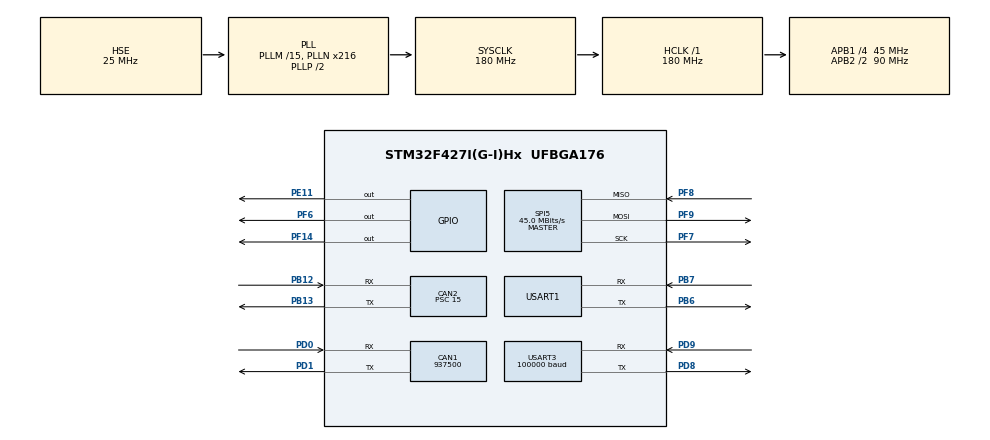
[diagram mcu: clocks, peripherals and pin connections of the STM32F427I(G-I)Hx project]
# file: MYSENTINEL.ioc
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CAN1.CalculateBaudRate=937500
CAN1.CalculateTimeBit=1066
CAN1.CalculateTimeQuantum=355.55555555555554
CAN2.CalculateBaudRate=1000000
CAN2.CalculateTimeBit=1000
CAN2.CalculateTimeQuantum=333.3333333333333
CAN2.Prescaler=15
Dma.Request0=USART1_RX
Dma.Request1=USART3_RX
Dma.USART1_RX.0.Direction=DMA_PERIPH_TO_MEMORY
Dma.USART1_RX.0.FIFOMode=DMA_FIFOMODE_DISABLE
Dma.USART1_RX.0.Instance=DMA2_Stream2
Dma.USART1_RX.0.MemDataAlignment=DMA_MDATAALIGN_BYTE
Dma.USART1_RX.0.MemInc=DMA_MINC_ENABLE
Dma.USART1_RX.0.Mode=DMA_NORMAL
Dma.USART1_RX.0.PeriphDataAlignment=DMA_PDATAALIGN_BYTE
Dma.USART1_RX.0.PeriphInc=DMA_PINC_DISABLE
Dma.USART1_RX.0.Priority=DMA_PRIORITY_LOW
Dma.USART3_RX.1.Direction=DMA_PERIPH_TO_MEMORY
Dma.USART3_RX.1.FIFOMode=DMA_FIFOMODE_DISABLE
Dma.USART3_RX.1.Instance=DMA1_Stream1
Dma.USART3_RX.1.MemDataAlignment=DMA_MDATAALIGN_BYTE
Dma.USART3_RX.1.MemInc=DMA_MINC_ENABLE
Dma.USART3_RX.1.Mode=DMA_NORMAL
Dma.USART3_RX.1.PeriphDataAlignment=DMA_PDATAALIGN_BYTE
Dma.USART3_RX.1.PeriphInc=DMA_PINC_DISABLE
Dma.USART3_RX.1.Priority=DMA_PRIORITY_LOW
FREERTOS.Tasks01=defaultTask,24,128,StartDefaultTask,Default,NULL,Dynamic,NULL,NULL;Underpan,24,128,StartUnderpan,As weak,NULL,Dynamic,NULL,NULL;tripod,24,128,StartTripod,As weak,NULL,Dynamic,NULL,NULL;GetIMUData,24,128,StartGetIMUData,As weak,NULL,Dynamic,NULL,NULL
Mcu.Family=STM32F4
Mcu.Name=STM32F427I(G-I)Hx
Mcu.Package=UFBGA176
NVIC.CAN2_RX0_IRQn=true\:5\:0\:false\:false\:true\:true\:true\:true\:true
NVIC.CAN2_SCE_IRQn=true\:5\:0\:false\:false\:true\:true\:true\:true\:true
NVIC.CAN2_TX_IRQn=true\:5\:0\:false\:false\:true\:true\:true\:true\:true
NVIC.DMA1_Stream1_IRQn=true\:5\:0\:false\:false\:true\:true\:false\:true\:true
NVIC.DMA2_Stream2_IRQn=true\:5\:0\:false\:false\:true\:true\:false\:true\:true
NVIC.PriorityGroup=NVIC_PRIORITYGROUP_4
NVIC.TIM8_TRG_COM_TIM14_IRQn=true\:15\:0\:false\:false\:true\:false\:false\:true\:true
NVIC.TimeBase=TIM8_TRG_COM_TIM14_IRQn
NVIC.TimeBaseIP=TIM14
NVIC.USART1_IRQn=true\:5\:0\:false\:false\:true\:true\:true\:true\:true
NVIC.USART3_IRQn=true\:5\:0\:false\:false\:true\:true\:true\:true\:true
PA13.Mode=Serial_Wire
PA13.Signal=SYS_JTMS-SWDIO
PA14.Mode=Serial_Wire
PA14.Signal=SYS_JTCK-SWCLK
PB12.Mode=CAN_Activate
PB12.Signal=CAN2_RX
PB13.Mode=CAN_Activate
PB13.Signal=CAN2_TX
PB6.Mode=Asynchronous
PB6.Signal=USART1_TX
PB7.Mode=Asynchronous
PB7.Signal=USART1_RX
PD0.Mode=CAN_Activate
PD0.Signal=CAN1_RX
PD1.Mode=CAN_Activate
PD1.Signal=CAN1_TX
PD8.Mode=Asynchronous
PD8.Signal=USART3_TX
PD9.Mode=Asynchronous
PD9.Signal=USART3_RX
PE11.Signal=GPIO_Output
PF14.Signal=GPIO_Output
PF6.Signal=GPIO_Output
PF7.Mode=Full_Duplex_Master
PF7.Signal=SPI5_SCK
PF8.Mode=Full_Duplex_Master
PF8.Signal=SPI5_MISO
PF9.Mode=Full_Duplex_Master
PF9.Signal=SPI5_MOSI
PH0/OSC_IN.Mode=HSE-External-Oscillator
PH0/OSC_IN.Signal=RCC_OSC_IN
PH1/OSC_OUT.Mode=HSE-External-Oscillator
PH1/OSC_OUT.Signal=RCC_OSC_OUT
ProjectManager.HeapSize=0x200
ProjectManager.StackSize=0x400
ProjectManager.TargetToolchain=MDK-ARM V5.32
RCC.48MHZClocksFreq_Value=90000000
RCC.AHBFreq_Value=180000000
RCC.APB1CLKDivider=RCC_HCLK_DIV4
RCC.APB1Freq_Value=45000000
RCC.APB1TimFreq_Value=90000000
RCC.APB2CLKDivider=RCC_HCLK_DIV2
RCC.APB2Freq_Value=90000000
RCC.APB2TimFreq_Value=180000000
RCC.CortexFreq_Value=180000000
RCC.HCLKFreq_Value=180000000
RCC.HSE_VALUE=25000000
RCC.HSI_VALUE=16000000
RCC.LSE_VALUE=32768
RCC.PLLM=15
RCC.PLLN=216
RCC.PLLSourceVirtual=RCC_PLLSOURCE_HSE
RCC.SYSCLKFreq_VALUE=180000000
RCC.SYSCLKSource=RCC_SYSCLKSOURCE_PLLCLK
RCC.VCOOutputFreq_Value=360000000
SPI5.CalculateBaudRate=45.0 MBits/s
SPI5.Direction=SPI_DIRECTION_2LINES
SPI5.Mode=SPI_MODE_MASTER
SPI5.VirtualType=VM_MASTER
USART1.VirtualMode=VM_ASYNC
USART3.BaudRate=100000
USART3.VirtualMode=VM_ASYNC
VP_FREERTOS_VS_CMSIS_V2.Mode=CMSIS_V2
VP_SYS_VS_tim14.Mode=TIM14
board=custom

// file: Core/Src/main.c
/* USER CODE BEGIN Header */
/**
  ******************************************************************************
  * @file           : main.c
  * @brief          : Main program body
  ******************************************************************************
  * @attention
  *
  * Copyright (c) 2026 STMicroelectronics.
  * All rights reserved.
  *
  * This software is licensed under terms that can be found in the LICENSE file
  * in the root directory of this software component.
  * If no LICENSE file comes with this software, it is provided AS-IS.
  *
  ******************************************************************************
  */
/* USER CODE END Header */
#include "main.h"
#include "cmsis_os.h"
#include "can.h"
#include "dma.h"
#include "spi.h"
#include "usart.h"
#include "gpio.h"

/* USER CODE BEGIN Includes */
#include "canbus.h"
#include "bsp_imu.h"

/* USER CODE END Includes */

/* USER CODE BEGIN PV */
volatile uint8_t error_code = 0;
/* USER CODE END PV */

void SystemClock_Config(void);
void MX_FREERTOS_Init(void);

int main(void)
{

  /* MCU Configuration--------------------------------------------------------*/

  /* Reset of all peripherals, Initializes the Flash interface and the Systick. */
  HAL_Init();

  /* Configure the system clock */
  SystemClock_Config();

  /* Initialize all configured peripherals */
  MX_GPIO_Init();
  MX_DMA_Init();
  MX_CAN1_Init();
  MX_CAN2_Init();
  MX_USART1_UART_Init();
  MX_USART3_UART_Init();
  MX_SPI5_Init();
  /* USER CODE BEGIN 2 */
  if (CAN1_BusStart() != HAL_OK)
  {
    error_code = 1;
    Error_Handler();
  }
  if (CAN2_BusStart() != HAL_OK)
  {
    error_code = 2;
    Error_Handler();
  }

  if (mpu_device_init() != 0U)
  {
    error_code = 3;
    Error_Handler();
  }
  mpu_get_data();
  init_quaternion();

  /* USER CODE END 2 */

  /* Init scheduler */
  osKernelInitialize();  /* Call init function for freertos objects (in cmsis_os2.c) */
  MX_FREERTOS_Init();

  /* Start scheduler */
  osKernelStart();

  /* We should never get here as control is now taken by the scheduler */

  /* Infinite loop */
  while (1)
  {

  }
}

void SystemClock_Config(void)
{
  RCC_OscInitTypeDef RCC_OscInitStruct = {0};
  RCC_ClkInitTypeDef RCC_ClkInitStruct = {0};

  /** Configure the main internal regulator output voltage
  */
  __HAL_RCC_PWR_CLK_ENABLE();
  __HAL_PWR_VOLTAGESCALING_CONFIG(PWR_REGULATOR_VOLTAGE_SCALE1);

  /** Initializes the RCC Oscillators according to the specified parameters
  * in the RCC_OscInitTypeDef structure.
  */
  RCC_OscInitStruct.OscillatorType = RCC_OSCILLATORTYPE_HSE;
  RCC_OscInitStruct.HSEState = RCC_HSE_ON;
  RCC_OscInitStruct.PLL.PLLState = RCC_PLL_ON;
  RCC_OscInitStruct.PLL.PLLSource = RCC_PLLSOURCE_HSE;
  RCC_OscInitStruct.PLL.PLLM = 15;
  RCC_OscInitStruct.PLL.PLLN = 216;
  RCC_OscInitStruct.PLL.PLLP = RCC_PLLP_DIV2;
  RCC_OscInitStruct.PLL.PLLQ = 4;
  if (HAL_RCC_OscConfig(&RCC_OscInitStruct) != HAL_OK)
  {
    Error_Handler();
  }

  /** Activate the Over-Drive mode
  */
  if (HAL_PWREx_EnableOverDrive() != HAL_OK)
  {
    Error_Handler();
  }

  /** Initializes the CPU, AHB and APB buses clocks
  */
  RCC_ClkInitStruct.ClockType = RCC_CLOCKTYPE_HCLK|RCC_CLOCKTYPE_SYSCLK
                              |RCC_CLOCKTYPE_PCLK1|RCC_CLOCKTYPE_PCLK2;
  RCC_ClkInitStruct.SYSCLKSource = RCC_SYSCLKSOURCE_PLLCLK;
  RCC_ClkInitStruct.AHBCLKDivider = RCC_SYSCLK_DIV1;
  RCC_ClkInitStruct.APB1CLKDivider = RCC_HCLK_DIV4;
  RCC_ClkInitStruct.APB2CLKDivider = RCC_HCLK_DIV2;

  if (HAL_RCC_ClockConfig(&RCC_ClkInitStruct, FLASH_LATENCY_5) != HAL_OK)
  {
    Error_Handler();
  }
}

void HAL_TIM_PeriodElapsedCallback(TIM_HandleTypeDef *htim)
{
  if (htim->Instance == TIM14)
  {
    HAL_IncTick();
  }
}

void Error_Handler(void)
{
  /* USER CODE BEGIN Error_Handler_Debug */
  /* User can add his own implementation to report the HAL error return state */
  __disable_irq();
  while (1)
  {
    for (uint8_t i = 0; i < error_code; i++)
    {
      HAL_GPIO_WritePin(GPIOF, GPIO_PIN_14, GPIO_PIN_SET);  // Red LED on
      HAL_Delay(200);
      HAL_GPIO_WritePin(GPIOF, GPIO_PIN_14, GPIO_PIN_RESET); // Red LED off
      HAL_Delay(200);
    }
    HAL_Delay(1000);
  }
  /* USER CODE END Error_Handler_Debug */
}

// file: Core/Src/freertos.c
/* USER CODE BEGIN Header */
/**
  ******************************************************************************
  * File Name          : freertos.c
  * Description        : Code for freertos applications
  ******************************************************************************
  * @attention
  *
  * Copyright (c) 2026 STMicroelectronics.
  * All rights reserved.
  *
  * This software is licensed under terms that can be found in the LICENSE file
  * in the root directory of this software component.
  * If no LICENSE file comes with this software, it is provided AS-IS.
  *
  ******************************************************************************
  */
/* USER CODE END Header */

#include "FreeRTOS.h"
#include "task.h"
#include "main.h"
#include "cmsis_os.h"

/* Definitions for defaultTask */
osThreadId_t defaultTaskHandle;
const osThreadAttr_t defaultTask_attributes = {
  .name = "defaultTask",
  .stack_size = 128 * 4,
  .priority = (osPriority_t) osPriorityNormal,
};
/* Definitions for Underpan */
osThreadId_t UnderpanHandle;
const osThreadAttr_t Underpan_attributes = {
  .name = "Underpan",
  .stack_size = 128 * 4,
  .priority = (osPriority_t) osPriorityNormal,
};
/* Definitions for tripod */
osThreadId_t tripodHandle;
const osThreadAttr_t tripod_attributes = {
  .name = "tripod",
  .stack_size = 128 * 4,
  .priority = (osPriority_t) osPriorityNormal,
};
/* Definitions for GetIMUData */
osThreadId_t GetIMUDataHandle;
const osThreadAttr_t GetIMUData_attributes = {
  .name = "GetIMUData",
  .stack_size = 128 * 4,
  .priority = (osPriority_t) osPriorityNormal,
};

void StartDefaultTask(void *argument);
void StartUnderpan(void *argument);
void StartTripod(void *argument);
void StartGetIMUData(void *argument);

void MX_FREERTOS_Init(void); /* (MISRA C 2004 rule 8.1) */

void MX_FREERTOS_Init(void) {

  /* Create the thread(s) */
  /* creation of defaultTask */
  defaultTaskHandle = osThreadNew(StartDefaultTask, NULL, &defaultTask_attributes);

  /* creation of Underpan */
  UnderpanHandle = osThreadNew(StartUnderpan, NULL, &Underpan_attributes);

  /* creation of tripod */
  tripodHandle = osThreadNew(StartTripod, NULL, &tripod_attributes);

  /* creation of GetIMUData */
  GetIMUDataHandle = osThreadNew(StartGetIMUData, NULL, &GetIMUData_attributes);

}

void StartDefaultTask(void *argument)
{
  for(;;)
  {
    osDelay(1);
  }
}

__weak void StartUnderpan(void *argument)
{
  for(;;)
  {
    osDelay(1);
  }
}

__weak void StartTripod(void *argument)
{
  for(;;)
  {
    osDelay(1);
  }
}

__weak void StartGetIMUData(void *argument)
{
  for(;;)
  {
    osDelay(1);
  }
}
